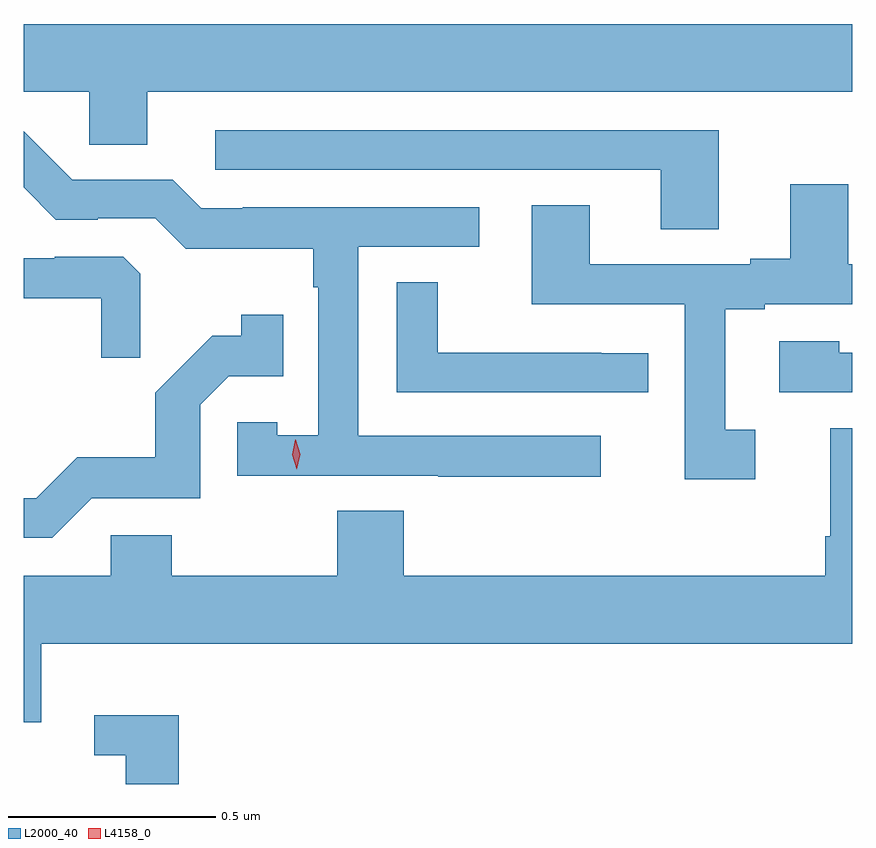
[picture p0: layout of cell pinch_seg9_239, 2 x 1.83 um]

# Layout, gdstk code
import gdstk
lib = gdstk.Library(unit=1e-6, precision=1e-09)
def P(c, l, *ps):  # polygons
    for p in ps: c.add(gdstk.Polygon(p, *l))
L2000_40 = (2000, 40)
L4158_0 = (4158, 0)

pinch_seg9_239 = lib.new_cell('pinch_seg9_239')
P(pinch_seg9_239, L2000_40, [(408.073,1231.052),(409.775,1231.052),(409.775,1231.216),(407.775,1231.216),(407.775,1231.052),(407.934,1231.052),(407.934,1230.925),(408.073,1230.925)],
  [(409.453,1230.96),(408.237,1230.96),(408.237,1230.864),(409.313,1230.864),(409.313,1230.721),(409.453,1230.721)],
  [(409.168,1230.222),(408.582,1230.222),(408.582,1230.678),(408.874,1230.678),(408.874,1230.774),(408.304,1230.774),(408.304,1230.771),(408.204,1230.771),(408.135,1230.84),(407.892,1230.84),(407.775,1230.957),(407.775,1230.822),(407.853,1230.744),(407.954,1230.744),(407.954,1230.747),(408.093,1230.747),(408.166,1230.674),(408.474,1230.674),(408.474,1230.581),(408.486,1230.581),(408.486,1230.223),(408.387,1230.223),(408.387,1230.255),(408.291,1230.255),(408.291,1230.126),(408.775,1230.126),(408.775,1230.124),(409.168,1230.124)],
  [(409.54,1230.237),(409.468,1230.237),(409.468,1230.528),(409.564,1230.528),(409.564,1230.54),(409.775,1230.54),(409.775,1230.636),(409.765,1230.636),(409.765,1230.829),(409.625,1230.829),(409.625,1230.649),(409.529,1230.649),(409.529,1230.636),(409.141,1230.636),(409.141,1230.779),(409.001,1230.779),(409.001,1230.54),(409.371,1230.54),(409.371,1230.117),(409.54,1230.117)],
  [(408.056,1230.613),(408.015,1230.654),(407.85,1230.654),(407.85,1230.651),(407.775,1230.651),(407.775,1230.554),(407.962,1230.554),(407.962,1230.411),(408.056,1230.411)],
  [(409.282,1230.422),(409.169,1230.422),(409.169,1230.423),(408.774,1230.423),(408.774,1230.593),(408.675,1230.593),(408.675,1230.327),(409.282,1230.327)],
  [(407.94,1230.072),(408.201,1230.072),(408.201,1230.297),(408.27,1230.366),(408.401,1230.366),(408.401,1230.514),(408.3,1230.514),(408.3,1230.464),(408.23,1230.464),(408.093,1230.326),(408.093,1230.171),(407.904,1230.171),(407.805,1230.072),(407.775,1230.072),(407.775,1229.976),(407.844,1229.976)],
  [(409.775,1230.423),(409.743,1230.423),(409.743,1230.451),(409.599,1230.451),(409.599,1230.327),(409.775,1230.327)],
  [(407.818,1229.72),(409.775,1229.72),(409.775,1230.241),(409.721,1230.241),(409.721,1229.98),(409.709,1229.98),(409.709,1229.884),(408.692,1229.884),(408.692,1230.041),(408.532,1230.041),(408.532,1229.884),(408.132,1229.884),(408.132,1229.982),(407.985,1229.982),(407.985,1229.884),(407.775,1229.884),(407.775,1229.531),(407.818,1229.531)],
  [(408.149,1229.548),(407.946,1229.548),(407.946,1229.451),(408.021,1229.451),(408.021,1229.382),(408.149,1229.382)])
P(pinch_seg9_239, L4158_0, [(408.434,1230.141),(408.434,1230.141),(408.423,1230.177),(408.431,1230.213),(408.432,1230.213),(408.432,1230.213),(408.443,1230.178),(408.434,1230.141)])

lib.write_gds('pinch_seg9_239.gds')
